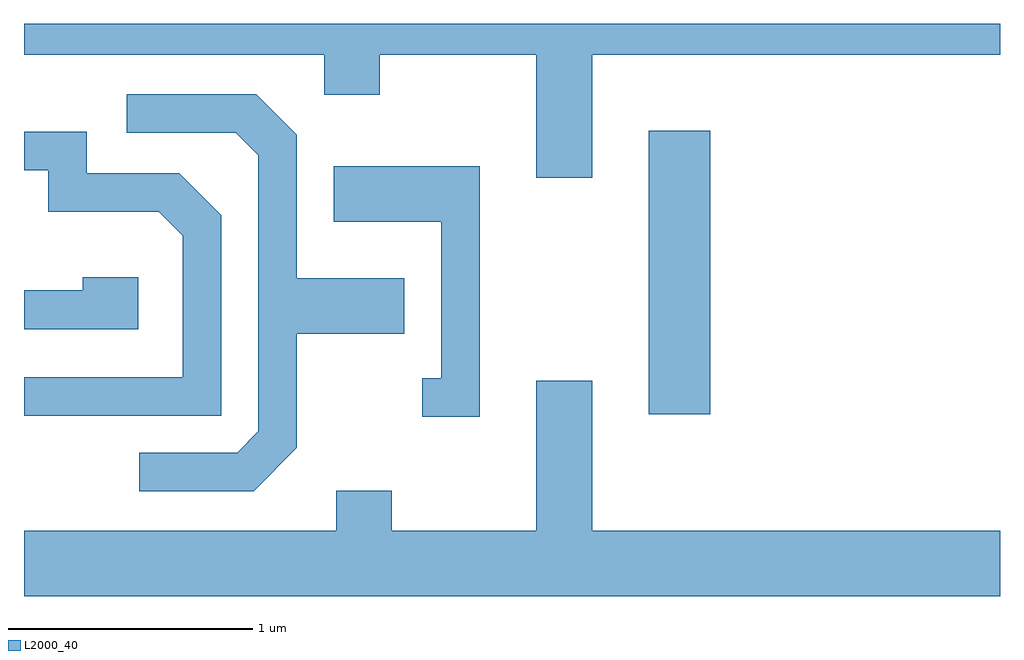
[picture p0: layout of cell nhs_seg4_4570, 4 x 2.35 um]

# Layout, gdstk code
import gdstk
lib = gdstk.Library(unit=1e-6, precision=1e-09)
def R(c, l, rs):  # rectangles x0, y0, x1, y1
    for r in rs: c.add(gdstk.rectangle(r[:2], r[2:], *l))
def P(c, l, *ps):  # polygons
    for p in ps: c.add(gdstk.Polygon(p, *l))
L2000_40 = (2000, 40)

nhs_seg4_4570 = lib.new_cell('nhs_seg4_4570')
R(nhs_seg4_4570, L2000_40, [(322.171,1284.381,322.424,1285.544)])
P(nhs_seg4_4570, L2000_40, [(321.939,1285.856),(323.611,1285.856),(323.611,1285.982),(319.611,1285.982),(319.611,1285.856),(320.841,1285.856),(320.841,1285.691),(321.069,1285.691),(321.069,1285.856),(321.711,1285.856),(321.711,1285.351),(321.939,1285.351)],
  [(320.729,1284.244),(320.729,1284.711),(321.169,1284.711),(321.169,1284.939),(320.729,1284.939),(320.729,1285.527),(320.562,1285.694),(320.033,1285.694),(320.033,1285.536),(320.479,1285.536),(320.571,1285.444),(320.571,1284.312),(320.484,1284.224),(320.083,1284.224),(320.083,1284.066),(320.552,1284.066)],
  [(320.419,1285.197),(320.247,1285.369),(319.869,1285.369),(319.869,1285.539),(319.611,1285.539),(319.611,1285.381),(319.711,1285.381),(319.711,1285.211),(320.164,1285.211),(320.261,1285.114),(320.261,1284.534),(319.611,1284.534),(319.611,1284.376),(320.419,1284.376)],
  [(321.479,1285.399),(320.881,1285.399),(320.881,1285.171),(321.321,1285.171),(321.321,1284.529),(321.243,1284.529),(321.243,1284.371),(321.479,1284.371)],
  [(320.079,1284.944),(319.851,1284.944),(319.851,1284.889),(319.611,1284.889),(319.611,1284.731),(320.079,1284.731)],
  [(323.611,1283.904),(321.939,1283.904),(321.939,1284.519),(321.711,1284.519),(321.711,1283.904),(321.119,1283.904),(321.119,1284.069),(320.891,1284.069),(320.891,1283.904),(319.611,1283.904),(319.611,1283.636),(323.611,1283.636)])

lib.write_gds('nhs_seg4_4570.gds')
